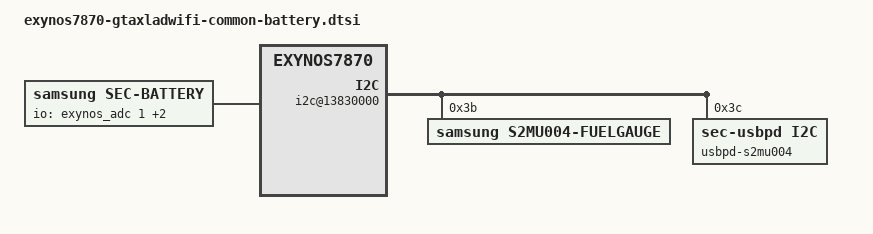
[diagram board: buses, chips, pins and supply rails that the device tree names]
/*
 * SAMSUNG UNIVERSAL5433 board device tree source
 *
 * Copyright (c) 2013 Samsung Electronics Co., Ltd.
 *		http://www.samsung.com
 *
 * This program is free software; you can redistribute it and/or modify
 * it under the terms of the GNU General Public License version 2 as
 * published by the Free Software Foundation.
 */

/ {
	pinctrl@139F0000 {
		fuel_irq: fuel-irq {
			samsung,pins = "gpa0-3";
			samsung,pin-function = <0>;
			samsung,pin-pud = <0>;
			samsung,pin-drv = <0>;
		};
	};

	pinctrl@139F0000 {
		if_pmic_irq: if-pmic-irq {
			samsung,pins = "gpa2-7";
			samsung,pin-function = <0>;
			samsung,pin-pud = <0>;
			samsung,pin-drv = <0>;
		};

		usbpd_irq: usbpd-irq {
			samsung,pins = "gpa2-6";
			samsung,pin-function = <0x0f>;
			samsung,pin-pud = <0>;
			samsung,pin-drv = <0>;
		};
	};

	i2c@13830000 {
		status = "okay";
		s2mu004-fuelgauge@3B {
			compatible = "samsung,s2mu004-fuelgauge";
			reg = <0x3B>;
			pinctrl-names = "default";
			pinctrl-0 = <&fuel_irq>;
			fuelgauge,fuel_int = <&gpa0 3 0>;
			fuelgauge,fuel_alert_soc = <1>;
			fuelgauge,fuel_alert_vol = <3300>;
			fuelgauge,capacity_max = <1000>;
			fuelgauge,capacity_max_margin = <200>;
			fuelgauge,capacity_min = <0>;
			fuelgauge,capacity_calculation_type = <28>;
			fuelgauge,capacity_full = <2450>;
			fuelgauge,type_str = "SDI";
			fuelgauge,model_type = <1>;
			fuelgauge,fg_log_enable = <1>;
		};

		usbpd-s2mu004@3C {
			compatible = "sec-usbpd,i2c";
			reg = <0x3C>;
			pinctrl-names = "default";
			pinctrl-0     = <&usbpd_irq>;
			usbpd,usbpd_int = <&gpa2 6 0>;
		};
	};

	battery_params {
			battery,battery_table3 = <59 10 210 9 105 9 1 9 164 8 77 8 225 7 171 7
						98 7 13 7 197 6 151 6 116 6 89 6 66 6 44 6 12
						6 233 5 182 5 137 5 98 5 30 3 205 8 97 8 244 7
						136 7 28 7 176 6 68 6 215 5 107 5 255 4 146 4 38
						4 186 3 78 3 225 2 117 2 9 2 157 1 48 1 196 0 88
						0 236 15>;

			battery,battery_table4 = <40 41 41 41 41 41 41 41 41 41 41 42 42 42 42 43 44 45 47 52 66 79>;

			battery,batcap = <0x94 0x66 0xA5 0x19>; /* [0x0E] [0x0F] [0x10] [0x11] */
			battery,accum = <0x8 0x00>; /* [0x45] [0x44] */

			battery,soc_arr_val = <11002 10472 9944 9416 8887 8358 7830 7301 6772 6244 5715 5185 4658 4129 3600 3071 2543 2015 1486 956 429 (-100)>;
			battery,ocv_arr_val = <42790 42276 41764 41255 40800 40374 39851 39584 39229 38816 38461 38239 38069 37933 37821 37713 37557 37387 37141 36919 36728 33897>;
	};

	battery {
		status = "okay";

		pinctrl-names = "default";

		compatible = "samsung,sec-battery";
		battery,vendor = "SDI SDI";
		battery,charger_name = "s2mu004-charger";
		battery,fuelgauge_name = "s2mu004-fuelgauge";
		battery,technology = <2>; /* POWER_SUPPLY_TECHNOLOGY_LION */
		battery,fgsrc_switch_name = "s2mu004-fuelgauge"; /* Fuelgauge voltage source */

		battery,chip_vendor = "LSI";
		battery,temp_adc_type = <1>; /* SEC_BATTERY_ADC_TYPE_AP */

		battery,polling_time = <10 30 30 30 3600>;

		battery,enable_water_resistance;


		battery,temp_table_adc = <290 303 317 331 345 358 372 386 400 413 427 441 454 468 482 496 513 530 547 564 
					581 601 622 642 662 683 700 718 735 753 770 795 819 844 868 893 922 952 981 1010 
					1039 1074 1109 1144 1179 1213 1248 1283 1318 1353 1387 1427 1467 1507 1547 1587 1631 1675 1719 1763 
					1807 1847 1887 1926 1966 2006 2054 2102 2149 2197 2245 2290 2334 2378 2422 2467 2511 2554 2598 2642 
					2686 2727 2769 2810 2851 2893 2927 2961 2996 3030 3064 3103 3142 3181 3219 3258 3287 3316 3345 3374 
					3403 3427 3450 3474 3498 3522 3540 3559 3578 3597 3616>;

		battery,temp_table_data = <900 890 880 870 860 850 840 830 820 810 800 790 780 770 760 750 740 730 720 710 700 690
					   680 670 660 650 640 630 620 610 600 590 580 570 560 550 540 530 520 510 500 490 480 470
					   460 450 440 430 420 410 400 390 380 370 360 350 340 330 320 310 300 290 280 270 260 250
					   240 230 220 210 200 190 180 170 160 150 140 130 120 110 100 90 80 70 60 50 40 30 20 10
					   0 (-10) (-20) (-30) (-40) (-50) (-60) (-70) (-80) (-90) (-100) (-110) (-120) (-130) (-140)
					   (-150) (-160) (-170) (-180) (-190) (-200)>;

		battery,chg_temp_table_adc = <244 258 272 286 299 313 327 341 355 369 383 397 410 424 438 452 468 483 499 515 
					530 552 574 595 617 638 655 672 689 705 722 744 767 789 812 834 862 889 917 944 972 1012 1052 
					1092 1133 1173 1205 1237 1269 1302 1334 1373 1413 1452 1492 1531 1579 1626 1673 1720 1768 1798 1828 
					1859 1889 1920 1967 2014 2061 2108 2155 2210 2265 2320 2374 2429 2473 2516 2559 2603 2646 2687 2728 
					2769 2810 2851 2881 2911 2941 2971 3001 3043 3085 3126 3168 3209 3241 3273 3305 3337 3369 3392 3415 
					3438 3461 3484 3504 3524 3543 3563 3583 >;

                battery,chg_temp_table_data = <900 890 880 870 860 850 840 830 820 810 800 790 780 770 760 750 740 730 720 710 700 690
                                           680 670 660 650 640 630 620 610 600 590 580 570 560 550 540 530 520 510 500 490 480 470
                                           460 450 440 430 420 410 400 390 380 370 360 350 340 330 320 310 300 290 280 270 260 250
                                           240 230 220 210 200 190 180 170 160 150 140 130 120 110 100 90 80 70 60 50 40 30 20 10
                                           0 (-10) (-20) (-30) (-40) (-50) (-60) (-70) (-80) (-90) (-100) (-110) (-120) (-130) (-140)
                                           (-150) (-160) (-170) (-180) (-190) (-200)>;

		battery,wireless_cc_cv = <86>;
		battery,inbat_voltage = <1>;
		battery,inbat_voltage_table_adc = <2980 2941 2890 2877 2850 2807 2780 2736 2702 2660 2628 2602 2575 2545 2518>;
		battery,inbat_voltage_table_data = <410 405 400 395 390 385 380 375 370 365 360 355 350 345 340>;

		battery,adc_check_count = <5>;

		battery,cable_check_type = <4>; /* SEC_BATTERY_CABLE_CHECK_PSY */
		battery,cable_source_type = <1>; /* SEC_BATTERY_CABLE_SOURCE_EXTERNAL */
		battery,polling_type = <1>; /* SEC_BATTERY_MONITOR_ALARM */
		battery,monitor_initial_count = <0>;

		battery,battery_check_type = <0>; /* SEC_BATTERY_CHECK_NONE */
		battery,check_count = <0>;

		battery,check_adc_max = <1440>;
		battery,check_adc_min = <0>;

		battery,ovp_uvlo_check_type = <3>; /* SEC_BATTERY_OVP_UVLO_CHGPOLLING */

		battery,thermal_source = <2>; /* SEC_BATTERY_THERMAL_SOURCE_ADC */
		battery,chg_temp_check = <0>;
		battery,chg_thermal_source = <1>;

		battery,temp_check_type = <2>; /* SEC_BATTERY_TEMP_CHECK_TEMP */
		battery,temp_check_count = <1>;
		battery,temp_highlimit_threshold_normal = <800>;
		battery,temp_highlimit_recovery_normal = <750>;
		battery,temp_high_threshold_normal = <500>;
		battery,temp_high_recovery_normal = <450>;
		battery,temp_low_threshold_normal = <0>;
		battery,temp_low_recovery_normal = <50>;
		battery,temp_highlimit_threshold_lpm = <800>;
		battery,temp_highlimit_recovery_lpm = <750>;
		battery,temp_high_threshold_lpm = <500>;
		battery,temp_high_recovery_lpm = <450>;
		battery,temp_low_threshold_lpm = <0>;
		battery,temp_low_recovery_lpm = <50>;
		battery,full_check_type = <2>; /* SEC_BATTERY_FULLCHARGED_FG_CURRENT */
		battery,full_check_type_2nd = <0>; /* NONE */
		battery,full_check_count = <1>;
		battery,chg_gpio_full_check = <0>;
		battery,chg_polarity_full_check = <1>;

		battery,chg_high_temp_1st = <530>;
		battery,chg_high_temp_2nd = <530>;
		battery,chg_high_temp_recovery = <525>;
		battery,chg_charging_limit_current = <1300>;
		battery,chg_charging_limit_current_2nd = <1300>;
		battery,chg_skip_check_capacity = <10>;
		battery,chg_skip_check_time = <600>;

		battery,wpc_high_temp = <420>;
		battery,wpc_high_temp_recovery = <410>;
		battery,wpc_charging_limit_current = <450>;

		/* SEC_BATTERY_FULL_CONDITION_SOC |
		   SEC_BATTERY_FULL_CONDITION_NOTIMEFULL |
		   SEC_BATTERY_FULL_CONDITION_VCELL */
		battery,full_condition_type = <15>;
		battery,full_condition_soc = <93>;
		battery,full_condition_vcell = <4120>;

		battery,recharge_check_count = <2>;
		battery,recharge_condition_type = <4>; /* SEC_BATTERY_RECHARGE_CONDITION_VCELL */
		battery,recharge_condition_soc = <98>;
		battery,recharge_condition_vcell = <4120>;

		battery,swelling_high_temp_block = <410>;
		battery,swelling_high_temp_recov = <390>;

		battery,swelling_low_temp_2step_mode = <1>;
		battery,swelling_low_temp_block_1st = <150>;
		battery,swelling_low_temp_recov_1st = <200>;
		battery,swelling_low_temp_block_2nd = <50>;
		battery,swelling_low_temp_recov_2nd = <100>;
		battery,swelling_low_temp_additional = <50>;

		battery,swelling_low_temp_current = <875>;
		battery,swelling_low_temp_additional_current = <875>;
		battery,swelling_low_temp_topoff = <375>;
		battery,swelling_high_temp_current = <1300>;
		battery,swelling_high_temp_topoff = <375>;

		battery,swelling_drop_float_voltage = <4050>;
		battery,swelling_high_rechg_voltage = <3850>;
		battery,swelling_low_rechg_voltage = <3850>;

		battery,expired_time = <19380>;
		battery,recharginig_expired_time = <5400>;
		battery,standard_curr = <2100>;

		battery,charging_total_time = <21600>;
		battery,recharging_total_time = <5400>;
		battery,charging_reset_time = <0>;


		io-channels = <&exynos_adc 1>, <&exynos_adc 5>, <&exynos_adc 6>;
		io-channel-names = "adc-temp", "adc-in-bat", "adc-chg-temp";
		#io-channel-cells = <1>;
		io-channel-ranges;

		battery,chg_float_voltage = <4220>;
	};

	s2mu004-charger {
		status = "disable";
		compatible = "samsung,s2mu004-charger";
		battery,is_1MHz_switching = <1>;
		battery,chg_gpio_en = <0>;
		battery,chg_polarity_en = <0>;
		battery,chg_gpio_status = <0>;
		battery,chg_polarity_status = <0>;
		battery,chg_float_voltage = <4090>;
	};

/* sec_battery_cable
 *   0	UNKNOWN,
 *   1	NONE,
 *   2	PREPARE_TA,
 *   3	TA,
 *   4	USB,
 *   5	USB_CDP,
 *   6	9V_TA,
 *   7	9V_ERR,
 *   8	9V_UNKNOWN,
 *   9	12V_TA,
 *  10	WIRELESS,
 *  11	HV_WIRELESS,
 *  12	PMA_WIRELESS,
 *  13	WIRELESS_PACK,
 *  14	WIRELESS_PACK_TA,
 *  15	WIRELESS_STAND,
 *  16	WIRELESS_HV_STAND,
 *  17	QC20,
 *  18	QC30,
 *  19	PDIC,
 *  20	UARTOFF,
 *  21	OTG,
 *  22	LAN_HUB,
 *  23	POWER_SHARING,
 *  24	HMT_CONNECTED,
 *  25	HMT_CHARGE,
 *  26	HV_TA_CHG_LIMIT,
 *  27	WIRELESS_VEHICLE,
 *  28	WIRELESS_HV_VEHICLE,
 *  29	PREPARE_WIRELESS_HV,
 *  30	TIMEOUT,
 *  31	CABLE_MAX,
 */
	cable-info {
		default_input_current = <1800>;
		default_charging_current = <2100>;
		full_check_current_1st = <375>;
		full_check_current_2nd = <375>;

		current_group_1 {
			cable_number = <1 4 19 21 22 23 30>;
			input_current = <500>;
			charging_current = <500>;
		};

		current_group_2 {
			cable_number = <2 25>;
			input_current = <1000>;
			charging_current = <1000>;
		};

		current_group_3 {
			cable_number = <5>;
			input_current = <1500>;
			charging_current = <1500>;
		};

		current_group_4 {
			cable_number = <6 7 8>;
			input_current = <1650>;
			charging_current = <2150>;
		};

		current_group_5 {
			cable_number = <9>;
			input_current = <1650>;
			charging_current = <2150>;
		};

		current_group_6 {
			cable_number = <10 12 14 15 27>;
			input_current = <900>;
			charging_current = <1200>;
		};

		current_group_7 {
			cable_number = <13>;
			input_current = <700>;
			charging_current = <1200>;
		};

		current_group_8 {
			cable_number = <24>;
			input_current = <1000>;
			charging_current = <450>;
		};

		current_group_9 {
			cable_number = <26>;
			input_current = <2000>;
			charging_current = <1800>;
		};

		current_group_10 {
			cable_number = <11 16 28>;
			input_current = <650>;
			charging_current = <1200>;
		};

		current_group_11 {
			cable_number = <29>;
			input_current = <500>;
			charging_current = <1200>;
		};
	};

};
